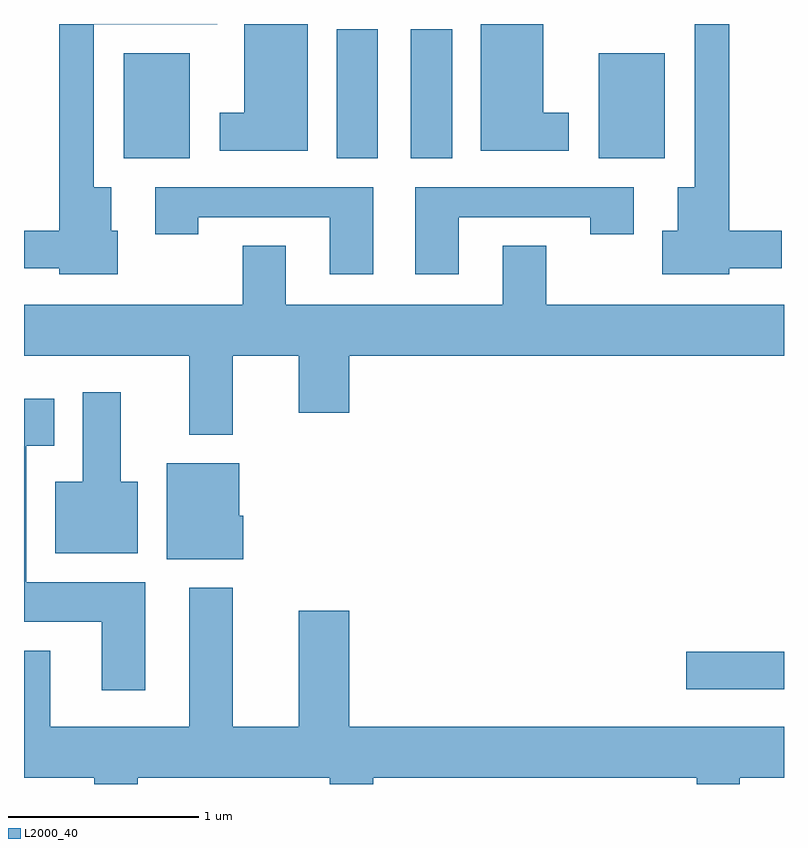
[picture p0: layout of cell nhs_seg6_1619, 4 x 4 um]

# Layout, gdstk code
import gdstk
lib = gdstk.Library(unit=1e-6, precision=1e-09)
def R(c, l, rs):  # rectangles x0, y0, x1, y1
    for r in rs: c.add(gdstk.rectangle(r[:2], r[2:], *l))
def P(c, l, *ps):  # polygons
    for p in ps: c.add(gdstk.Polygon(p, *l))
L2000_40 = (2000, 40)

nhs_seg6_1619 = lib.new_cell('nhs_seg6_1619')
R(nhs_seg6_1619, L2000_40, [(237.096,1612.661,237.611,1612.859), (234.136,1615.456,234.484,1616.009), (235.256,1615.456,235.474,1616.134), (235.646,1615.456,235.864,1616.134), (236.636,1615.456,236.984,1616.009)])
P(nhs_seg6_1619, L2000_40, [(235.104,1616.162),(234.771,1616.162),(234.771,1615.694),(234.641,1615.694),(234.641,1615.496),(235.104,1615.496)],
  [(236.479,1615.694),(236.344,1615.694),(236.344,1616.162),(236.016,1616.162),(236.016,1615.496),(236.479,1615.496)],
  [(237.324,1614.876),(237.599,1614.876),(237.599,1615.074),(237.324,1615.074),(237.324,1616.162),(236.493,1616.162),(236.493,1616.161),(237.141,1616.161),(237.141,1615.304),(237.051,1615.304),(237.051,1615.074),(236.971,1615.074),(236.971,1614.846),(237.324,1614.846)],
  [(234.104,1615.074),(234.069,1615.074),(234.069,1615.304),(233.979,1615.304),(233.979,1616.161),(234.628,1616.161),(234.628,1616.162),(233.796,1616.162),(233.796,1615.074),(233.611,1615.074),(233.611,1614.876),(233.796,1614.876),(233.796,1614.846),(234.104,1614.846)],
  [(235.449,1615.304),(234.301,1615.304),(234.301,1615.056),(234.529,1615.056),(234.529,1615.146),(235.221,1615.146),(235.221,1614.846),(235.449,1614.846)],
  [(235.899,1615.146),(236.591,1615.146),(236.591,1615.056),(236.819,1615.056),(236.819,1615.304),(235.671,1615.304),(235.671,1614.846),(235.899,1614.846)],
  [(234.709,1614.416),(235.056,1614.416),(235.056,1614.116),(235.324,1614.116),(235.324,1614.416),(237.611,1614.416),(237.611,1614.684),(236.359,1614.684),(236.359,1614.994),(236.131,1614.994),(236.131,1614.684),(234.989,1614.684),(234.989,1614.994),(234.761,1614.994),(234.761,1614.684),(233.611,1614.684),(233.611,1614.416),(234.481,1614.416),(234.481,1614.001),(234.709,1614.001)],
  [(234.209,1613.754),(234.119,1613.754),(234.119,1614.224),(233.921,1614.224),(233.921,1613.754),(233.776,1613.754),(233.776,1613.376),(234.209,1613.376)],
  [(234.249,1613.224),(233.624,1613.224),(233.624,1613.941),(233.769,1613.941),(233.769,1614.189),(233.611,1614.189),(233.611,1613.016),(234.021,1613.016),(234.021,1612.656),(234.249,1612.656)],
  [(234.764,1613.574),(234.744,1613.574),(234.744,1613.849),(234.361,1613.849),(234.361,1613.346),(234.764,1613.346)],
  [(234.209,1612.196),(235.221,1612.196),(235.221,1612.162),(235.449,1612.162),(235.449,1612.196),(237.151,1612.196),(237.151,1612.162),(237.379,1612.162),(237.379,1612.196),(237.611,1612.196),(237.611,1612.464),(235.324,1612.464),(235.324,1613.074),(235.056,1613.074),(235.056,1612.464),(234.709,1612.464),(234.709,1613.194),(234.481,1613.194),(234.481,1612.464),(233.749,1612.464),(233.749,1612.864),(233.611,1612.864),(233.611,1612.196),(233.981,1612.196),(233.981,1612.162),(234.209,1612.162)])

lib.write_gds('nhs_seg6_1619.gds')
